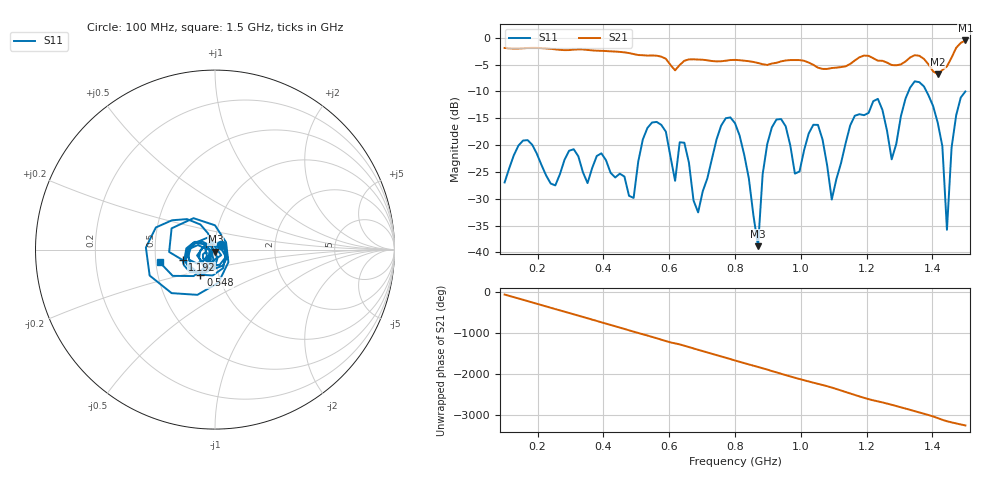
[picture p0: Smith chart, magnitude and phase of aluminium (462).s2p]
! NanoVNA-App
! Date: 2025-09-25 14:58:53
! Start: 100MHz Stop: 1,5GHz Points: 101
! S-Parameter data: F S11 S21 S12 S22
# Hz S RI R 50
!  Frequency  S11_Real  S11_Imag  S21_Real  S21_Imag  S12_Real  S12_Imag  S22_Real  S22_Imag
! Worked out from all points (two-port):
!   101 points, 100 MHz to 1.5 GHz, reference 50 ohm
!   highest |S21| = -0.52 dB at 1.5 GHz (marker M1); lowest = -6.8 dB at 1.416 GHz (marker M2)
!   |S21| within 3 dB of the highest: start of sweep to 575 MHz; 1.459 GHz to end of sweep (the widest 2 of 4)
!   lowest |S11| = -38.8 dB at 870 MHz (marker M3), VSWR 1.02, Z = 50.2 - j1.12 ohm
!   |S11| at or under -10 dB: start of sweep to 1.327 GHz; 1.382 GHz to end of sweep
!   S12 and S22 are empty: the file has one direction only
!   S11 on the Smith chart (normalised r, x): 100 MHz: 1.07, +0.06; 548 MHz: 0.82, -0.24; 1.192 GHz: 0.69, -0.08; 1.5 GHz: 0.53, -0.08
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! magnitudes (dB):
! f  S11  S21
! 100 MHz  -27.0  -1.9
! 156 MHz  -19.2  -2.0
! 338 MHz  -25.1  -2.2
! 492 MHz  -29.8  -3.1
! 548 MHz  -15.8  -3.3
! 576 MHz  -16.2  -3.5
! 646 MHz  -19.6  -4.3
! 688 MHz  -32.5  -4.1
! 800 MHz  -15.9  -4.1
! 870 MHz  -38.8  -4.7
! 912 MHz  -16.7  -4.8
! 982 MHz  -25.3  -4.2
! 1.038 GHz  -16.2  -5.1
! 1.094 GHz  -30.1  -5.7
! 1.192 GHz  -14.4  -3.3
! 1.234 GHz  -11.4  -4.3
! 1.276 GHz  -22.7  -5.1
! 1.346 GHz  -8.1  -3.3
! 1.416 GHz  -15.8  -6.8
! 1.444 GHz  -35.8  -5.4
! 1.458 GHz  -20.5  -3.7
! 1.5 GHz  -10.0  -0.5
